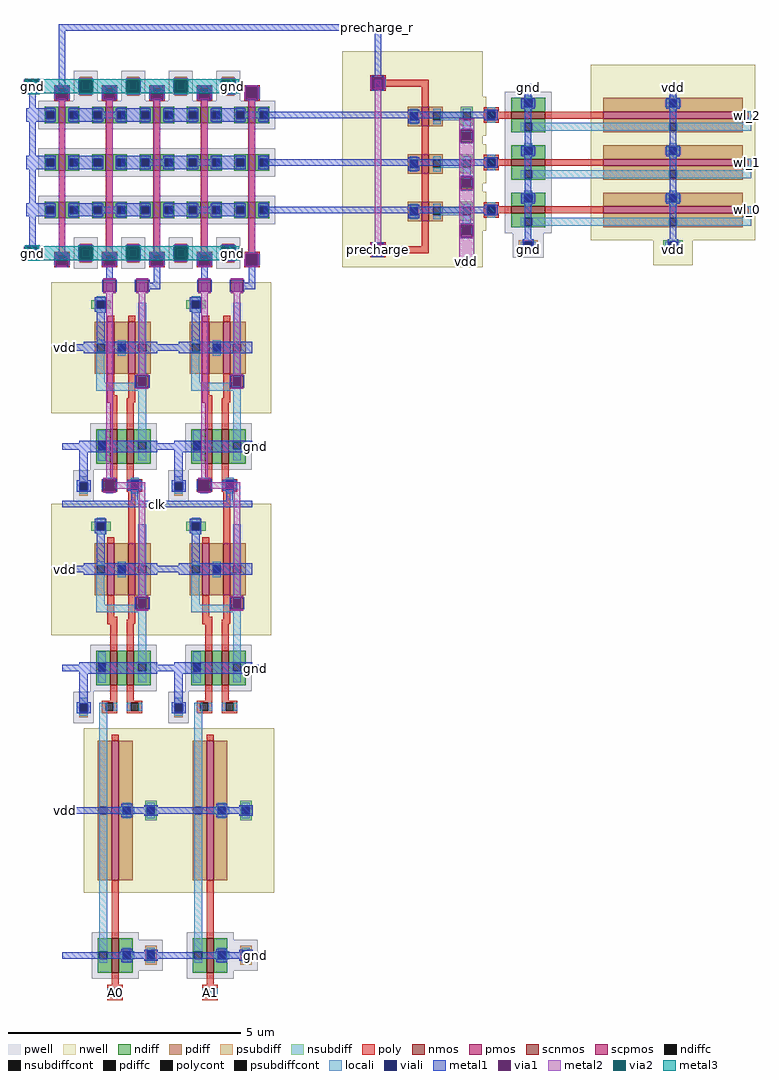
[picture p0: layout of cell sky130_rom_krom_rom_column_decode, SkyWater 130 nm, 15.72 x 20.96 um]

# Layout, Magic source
magic
tech sky130A
magscale 1 2
<< locali >>
rect 1953 3863 1987 3879
rect 3053 3829 3087 3863
rect 1953 3813 1987 3829
rect 1953 3659 1987 3675
rect 3053 3625 3087 3659
rect 1953 3609 1987 3625
rect 1953 3455 1987 3471
rect 3053 3421 3087 3455
rect 1953 3405 1987 3421
rect 321 60 387 94
rect 729 60 795 94
<< viali >>
rect 1953 3829 1987 3863
rect 1953 3625 1987 3659
rect 1953 3421 1987 3455
<< metal1 >>
rect 1469 4209 1497 4237
rect 2115 3952 2143 3980
rect 2737 3952 2765 3980
rect 1941 3863 1999 3869
rect 1941 3860 1953 3863
rect 1851 3832 1953 3860
rect 1941 3829 1953 3832
rect 1987 3829 1999 3863
rect 1941 3823 1999 3829
rect 1941 3659 1999 3665
rect 1941 3656 1953 3659
rect 1851 3628 1953 3656
rect 1941 3625 1953 3628
rect 1987 3625 1999 3659
rect 1941 3619 1999 3625
rect 1941 3455 1999 3461
rect 1941 3452 1953 3455
rect 1851 3424 1953 3452
rect 1941 3421 1953 3424
rect 1987 3421 1999 3455
rect 1941 3415 1999 3421
rect 2115 3256 2143 3284
rect 2737 3256 2765 3284
rect 298 3199 304 3251
rect 356 3199 362 3251
rect 502 3199 508 3251
rect 560 3199 566 3251
rect 706 3199 712 3251
rect 764 3199 770 3251
rect 910 3199 916 3251
rect 968 3199 974 3251
rect 316 3138 344 3199
rect 298 3086 304 3138
rect 356 3086 362 3138
rect 438 3086 444 3138
rect 496 3126 502 3138
rect 520 3126 548 3199
rect 724 3138 752 3199
rect 496 3098 548 3126
rect 496 3086 502 3098
rect 706 3086 712 3138
rect 764 3086 770 3138
rect 846 3086 852 3138
rect 904 3126 910 3138
rect 928 3126 956 3199
rect 904 3098 956 3126
rect 904 3086 910 3098
rect 127 2833 155 2861
rect 943 2408 971 2436
rect 127 2160 943 2188
rect 127 1881 155 1909
rect 943 1456 971 1484
rect 127 844 155 872
rect 943 222 971 250
<< via1 >>
rect 304 3199 356 3251
rect 508 3199 560 3251
rect 712 3199 764 3251
rect 916 3199 968 3251
rect 304 3086 356 3138
rect 444 3086 496 3138
rect 712 3086 764 3138
rect 852 3086 904 3138
<< metal2 >>
rect 304 3251 356 3257
rect 304 3193 356 3199
rect 508 3251 560 3257
rect 508 3193 560 3199
rect 712 3251 764 3257
rect 712 3193 764 3199
rect 916 3251 968 3257
rect 1469 3253 1497 3281
rect 1833 3204 1897 3232
rect 916 3193 968 3199
rect 304 3138 356 3144
rect 304 3080 356 3086
rect 444 3138 496 3144
rect 444 3080 496 3086
rect 712 3138 764 3144
rect 712 3080 764 3086
rect 852 3138 904 3144
rect 852 3080 904 3086
<< metal3 >>
rect -31 3939 29 3999
rect 827 3939 887 3999
rect -31 3223 29 3283
rect 827 3223 887 3283
use sky130_rom_krom_rom_address_control_array_0  sky130_rom_krom_rom_address_control_array_0_0
transform 1 0 127 0 1 0
box -48 44 911 3128
use sky130_rom_krom_rom_column_decode_array  sky130_rom_krom_rom_column_decode_array_0
transform 0 -1 1865 1 0 3192
box -6 -84 1045 1904
use sky130_rom_krom_rom_column_decode_wordline_buffer  sky130_rom_krom_rom_column_decode_wordline_buffer_0
transform 1 0 1893 0 1 3250
box 44 -50 1212 811
<< labels >>
rlabel metal1 s 127 2160 943 2188 4 clk
port 3 nsew
rlabel locali s 3070 3438 3070 3438 4 wl_0
port 4 nsew
rlabel locali s 3070 3642 3070 3642 4 wl_1
port 5 nsew
rlabel locali s 3070 3846 3070 3846 4 wl_2
port 6 nsew
rlabel metal2 s 1469 3253 1497 3281 4 precharge
port 8 nsew
rlabel metal1 s 1469 4209 1497 4237 4 precharge_r
port 10 nsew
rlabel locali s 354 77 354 77 4 A0
port 11 nsew
rlabel locali s 762 77 762 77 4 A1
port 12 nsew
rlabel metal1 s 2737 3952 2765 3980 4 vdd
port 14 nsew
rlabel metal1 s 127 2833 155 2861 4 vdd
port 14 nsew
rlabel metal1 s 2737 3256 2765 3284 4 vdd
port 14 nsew
rlabel metal1 s 127 1881 155 1909 4 vdd
port 14 nsew
rlabel metal2 s 1833 3204 1897 3232 4 vdd
port 14 nsew
rlabel metal1 s 127 844 155 872 4 vdd
port 14 nsew
rlabel metal3 s 827 3223 887 3283 4 gnd
port 16 nsew
rlabel metal3 s 827 3939 887 3999 4 gnd
port 16 nsew
rlabel metal3 s -31 3223 29 3283 4 gnd
port 16 nsew
rlabel metal1 s 943 1456 971 1484 4 gnd
port 16 nsew
rlabel metal1 s 943 222 971 250 4 gnd
port 16 nsew
rlabel metal1 s 2115 3256 2143 3284 4 gnd
port 16 nsew
rlabel metal1 s 943 2408 971 2436 4 gnd
port 16 nsew
rlabel metal1 s 2115 3952 2143 3980 4 gnd
port 16 nsew
rlabel metal3 s -31 3939 29 3999 4 gnd
port 16 nsew
<< properties >>
string FIXED_BBOX -31 0 3087 4237
<< end >>

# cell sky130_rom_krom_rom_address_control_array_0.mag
magic
tech sky130A
magscale 1 2
<< locali >>
rect 194 60 260 94
rect 602 60 668 94
<< metal1 >>
rect 0 2833 817 2861
rect 0 2408 844 2436
rect 0 2160 816 2188
rect 0 1881 817 1909
rect 0 1456 844 1484
rect 0 844 816 872
rect 0 222 844 250
<< metal2 >>
rect 189 3098 217 3126
rect 329 3098 357 3126
rect 597 3098 625 3126
rect 737 3098 765 3126
use sky130_rom_krom_rom_address_control_buf  sky130_rom_krom_rom_address_control_buf_0
transform -1 0 816 0 1 0
box -95 44 456 3128
use sky130_rom_krom_rom_address_control_buf  sky130_rom_krom_rom_address_control_buf_1
transform -1 0 408 0 1 0
box -95 44 456 3128
<< labels >>
rlabel metal1 s 0 2160 816 2188 4 clk
port 3 nsew
rlabel metal1 s 0 2833 28 2861 4 vdd
port 5 nsew
rlabel metal1 s 0 1881 28 1909 4 vdd
port 5 nsew
rlabel metal1 s 0 844 28 872 4 vdd
port 5 nsew
rlabel metal1 s 816 2408 844 2436 4 gnd
port 7 nsew
rlabel metal1 s 816 1456 844 1484 4 gnd
port 7 nsew
rlabel metal1 s 816 222 844 250 4 gnd
port 7 nsew
rlabel metal2 s 189 3098 217 3126 4 A0_out
port 9 nsew
rlabel metal2 s 329 3098 357 3126 4 Abar0_out
port 11 nsew
rlabel locali s 227 77 227 77 4 A0_in
port 12 nsew
rlabel metal2 s 597 3098 625 3126 4 A1_out
port 14 nsew
rlabel metal2 s 737 3098 765 3126 4 Abar1_out
port 16 nsew
rlabel locali s 635 77 635 77 4 A1_in
port 17 nsew
<< properties >>
string FIXED_BBOX 0 0 816 3098
<< end >>

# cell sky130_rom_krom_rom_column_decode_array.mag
magic
tech sky130A
magscale 1 2
<< poly >>
rect 0 1756 66 1772
rect 0 1722 16 1756
rect 50 1754 66 1756
rect 716 1756 782 1772
rect 716 1754 732 1756
rect 50 1724 732 1754
rect 50 1722 66 1724
rect 0 1706 66 1722
rect 716 1722 732 1724
rect 766 1722 782 1756
rect 716 1706 782 1722
rect 0 1552 66 1568
rect 0 1518 16 1552
rect 50 1550 66 1552
rect 716 1552 782 1568
rect 716 1550 732 1552
rect 50 1520 732 1550
rect 50 1518 66 1520
rect 0 1502 66 1518
rect 716 1518 732 1520
rect 766 1518 782 1552
rect 716 1502 782 1518
rect 0 1348 66 1364
rect 0 1314 16 1348
rect 50 1346 66 1348
rect 716 1348 782 1364
rect 716 1346 732 1348
rect 50 1316 732 1346
rect 50 1314 66 1316
rect 0 1298 66 1314
rect 716 1314 732 1316
rect 766 1314 782 1348
rect 716 1298 782 1314
rect 0 1144 66 1160
rect 0 1110 16 1144
rect 50 1142 66 1144
rect 716 1144 782 1160
rect 716 1142 732 1144
rect 50 1112 732 1142
rect 50 1110 66 1112
rect 0 1094 66 1110
rect 716 1110 732 1112
rect 766 1110 782 1144
rect 716 1094 782 1110
rect 0 940 66 956
rect 0 906 16 940
rect 50 938 66 940
rect 716 940 782 956
rect 716 938 732 940
rect 50 908 732 938
rect 50 906 66 908
rect 0 890 66 906
rect 716 906 732 908
rect 766 906 782 940
rect 716 890 782 906
<< polycont >>
rect 16 1722 50 1756
rect 732 1722 766 1756
rect 16 1518 50 1552
rect 732 1518 766 1552
rect 16 1314 50 1348
rect 732 1314 766 1348
rect 16 1110 50 1144
rect 732 1110 766 1144
rect 16 906 50 940
rect 732 906 766 940
<< locali >>
rect 16 1756 50 1772
rect 16 1706 50 1722
rect 732 1756 766 1772
rect 732 1706 766 1722
rect 28 1620 44 1654
rect 78 1620 94 1654
rect 744 1620 760 1654
rect 794 1620 810 1654
rect 16 1552 50 1568
rect 16 1502 50 1518
rect 732 1552 766 1568
rect 732 1502 766 1518
rect 28 1416 44 1450
rect 78 1416 94 1450
rect 744 1416 760 1450
rect 794 1416 810 1450
rect 16 1348 50 1364
rect 16 1298 50 1314
rect 732 1348 766 1364
rect 732 1298 766 1314
rect 28 1212 44 1246
rect 78 1212 94 1246
rect 744 1212 760 1246
rect 794 1212 810 1246
rect 16 1144 50 1160
rect 16 1094 50 1110
rect 732 1144 766 1160
rect 732 1094 766 1110
rect 28 1008 44 1042
rect 78 1008 94 1042
rect 744 1008 760 1042
rect 794 1008 810 1042
rect 16 940 50 956
rect 16 890 50 906
rect 732 940 766 956
rect 732 890 766 906
<< viali >>
rect 16 1722 50 1756
rect 732 1722 766 1756
rect 44 1620 78 1654
rect 760 1620 794 1654
rect 16 1518 50 1552
rect 732 1518 766 1552
rect 44 1416 78 1450
rect 760 1416 794 1450
rect 16 1314 50 1348
rect 732 1314 766 1348
rect 44 1212 78 1246
rect 760 1212 794 1246
rect 16 1110 50 1144
rect 732 1110 766 1144
rect 44 1008 78 1042
rect 760 1008 794 1042
rect 16 906 50 940
rect 732 906 766 940
<< metal1 >>
rect 29 1840 35 1892
rect 87 1880 93 1892
rect 745 1880 751 1892
rect 87 1852 751 1880
rect 87 1840 93 1852
rect 745 1840 751 1852
rect 803 1840 809 1892
rect 8 1765 59 1772
rect 724 1765 775 1772
rect 1 1713 7 1765
rect 59 1713 65 1765
rect 717 1713 723 1765
rect 775 1753 781 1765
rect 775 1725 1045 1753
rect 775 1713 781 1725
rect 8 1706 59 1713
rect 724 1706 775 1713
rect 35 1663 87 1669
rect 35 1605 87 1611
rect 751 1663 803 1669
rect 751 1605 803 1611
rect 8 1561 59 1568
rect 724 1561 775 1568
rect 1 1509 7 1561
rect 59 1509 65 1561
rect 717 1509 723 1561
rect 775 1509 781 1561
rect 8 1502 59 1509
rect 724 1502 775 1509
rect 35 1459 87 1465
rect 35 1401 87 1407
rect 751 1459 803 1465
rect 751 1401 803 1407
rect 8 1357 59 1364
rect 724 1357 775 1364
rect 1 1305 7 1357
rect 59 1305 65 1357
rect 717 1305 723 1357
rect 775 1305 781 1357
rect 8 1298 59 1305
rect 724 1298 775 1305
rect 35 1255 87 1261
rect 35 1197 87 1203
rect 751 1255 803 1261
rect 751 1197 803 1203
rect 8 1153 59 1160
rect 724 1153 775 1160
rect 1 1101 7 1153
rect 59 1101 65 1153
rect 717 1101 723 1153
rect 775 1101 781 1153
rect 8 1094 59 1101
rect 724 1094 775 1101
rect 35 1051 87 1057
rect 35 993 87 999
rect 751 1051 803 1057
rect 751 993 803 999
rect 8 949 59 956
rect 724 949 775 956
rect 1 897 7 949
rect 59 897 65 949
rect 717 897 723 949
rect 775 897 781 949
rect 8 890 59 897
rect 724 890 775 897
rect 232 -14 260 873
rect 436 -14 464 873
rect 640 -14 668 873
rect 1017 396 1045 1725
rect 791 368 1045 396
<< via1 >>
rect 35 1840 87 1892
rect 751 1840 803 1892
rect 7 1756 59 1765
rect 7 1722 16 1756
rect 16 1722 50 1756
rect 50 1722 59 1756
rect 7 1713 59 1722
rect 723 1756 775 1765
rect 723 1722 732 1756
rect 732 1722 766 1756
rect 766 1722 775 1756
rect 723 1713 775 1722
rect 35 1654 87 1663
rect 35 1620 44 1654
rect 44 1620 78 1654
rect 78 1620 87 1654
rect 35 1611 87 1620
rect 751 1654 803 1663
rect 751 1620 760 1654
rect 760 1620 794 1654
rect 794 1620 803 1654
rect 751 1611 803 1620
rect 7 1552 59 1561
rect 7 1518 16 1552
rect 16 1518 50 1552
rect 50 1518 59 1552
rect 7 1509 59 1518
rect 723 1552 775 1561
rect 723 1518 732 1552
rect 732 1518 766 1552
rect 766 1518 775 1552
rect 723 1509 775 1518
rect 35 1450 87 1459
rect 35 1416 44 1450
rect 44 1416 78 1450
rect 78 1416 87 1450
rect 35 1407 87 1416
rect 751 1450 803 1459
rect 751 1416 760 1450
rect 760 1416 794 1450
rect 794 1416 803 1450
rect 751 1407 803 1416
rect 7 1348 59 1357
rect 7 1314 16 1348
rect 16 1314 50 1348
rect 50 1314 59 1348
rect 7 1305 59 1314
rect 723 1348 775 1357
rect 723 1314 732 1348
rect 732 1314 766 1348
rect 766 1314 775 1348
rect 723 1305 775 1314
rect 35 1246 87 1255
rect 35 1212 44 1246
rect 44 1212 78 1246
rect 78 1212 87 1246
rect 35 1203 87 1212
rect 751 1246 803 1255
rect 751 1212 760 1246
rect 760 1212 794 1246
rect 794 1212 803 1246
rect 751 1203 803 1212
rect 7 1144 59 1153
rect 7 1110 16 1144
rect 16 1110 50 1144
rect 50 1110 59 1144
rect 7 1101 59 1110
rect 723 1144 775 1153
rect 723 1110 732 1144
rect 732 1110 766 1144
rect 766 1110 775 1144
rect 723 1101 775 1110
rect 35 1042 87 1051
rect 35 1008 44 1042
rect 44 1008 78 1042
rect 78 1008 87 1042
rect 35 999 87 1008
rect 751 1042 803 1051
rect 751 1008 760 1042
rect 760 1008 794 1042
rect 794 1008 803 1042
rect 751 999 803 1008
rect 7 940 59 949
rect 7 906 16 940
rect 16 906 50 940
rect 50 906 59 940
rect 7 897 59 906
rect 723 940 775 949
rect 723 906 732 940
rect 732 906 766 940
rect 766 906 775 940
rect 723 897 775 906
<< metal2 >>
rect 33 1895 89 1904
rect 33 1830 89 1839
rect 749 1895 805 1904
rect 749 1830 805 1839
rect 7 1765 59 1771
rect 1 1718 7 1761
rect 723 1765 775 1771
rect 59 1753 65 1761
rect 717 1753 723 1761
rect 59 1725 723 1753
rect 59 1718 65 1725
rect 717 1718 723 1725
rect 7 1707 59 1713
rect 775 1718 781 1761
rect 723 1707 775 1713
rect 24 1609 33 1665
rect 89 1609 98 1665
rect 740 1609 749 1665
rect 805 1609 814 1665
rect 7 1561 59 1567
rect 1 1514 7 1557
rect 723 1561 775 1567
rect 59 1549 65 1557
rect 717 1549 723 1557
rect 59 1521 723 1549
rect 59 1514 65 1521
rect 717 1514 723 1521
rect 7 1503 59 1509
rect 775 1514 781 1557
rect 723 1503 775 1509
rect 24 1405 33 1461
rect 89 1405 98 1461
rect 740 1405 749 1461
rect 805 1405 814 1461
rect 7 1357 59 1363
rect 1 1310 7 1353
rect 723 1357 775 1363
rect 59 1345 65 1353
rect 717 1345 723 1353
rect 59 1317 723 1345
rect 59 1310 65 1317
rect 717 1310 723 1317
rect 7 1299 59 1305
rect 775 1310 781 1353
rect 723 1299 775 1305
rect 24 1201 33 1257
rect 89 1201 98 1257
rect 740 1201 749 1257
rect 805 1201 814 1257
rect 7 1153 59 1159
rect 1 1106 7 1149
rect 723 1153 775 1159
rect 59 1141 65 1149
rect 717 1141 723 1149
rect 59 1113 723 1141
rect 59 1106 65 1113
rect 717 1106 723 1113
rect 7 1095 59 1101
rect 775 1106 781 1149
rect 723 1095 775 1101
rect 24 997 33 1053
rect 89 997 98 1053
rect 740 997 749 1053
rect 805 997 814 1053
rect 7 949 59 955
rect 1 902 7 945
rect 723 949 775 955
rect 59 937 65 945
rect 717 937 723 945
rect 59 909 723 937
rect 59 902 65 909
rect 717 902 723 909
rect 7 891 59 897
rect 775 902 781 945
rect 723 891 775 897
rect 61 368 89 396
rect 12 -32 40 32
<< via2 >>
rect 33 1892 89 1895
rect 33 1840 35 1892
rect 35 1840 87 1892
rect 87 1840 89 1892
rect 33 1839 89 1840
rect 749 1892 805 1895
rect 749 1840 751 1892
rect 751 1840 803 1892
rect 803 1840 805 1892
rect 749 1839 805 1840
rect 33 1663 89 1665
rect 33 1611 35 1663
rect 35 1611 87 1663
rect 87 1611 89 1663
rect 33 1609 89 1611
rect 749 1663 805 1665
rect 749 1611 751 1663
rect 751 1611 803 1663
rect 803 1611 805 1663
rect 749 1609 805 1611
rect 33 1459 89 1461
rect 33 1407 35 1459
rect 35 1407 87 1459
rect 87 1407 89 1459
rect 33 1405 89 1407
rect 749 1459 805 1461
rect 749 1407 751 1459
rect 751 1407 803 1459
rect 803 1407 805 1459
rect 749 1405 805 1407
rect 33 1255 89 1257
rect 33 1203 35 1255
rect 35 1203 87 1255
rect 87 1203 89 1255
rect 33 1201 89 1203
rect 749 1255 805 1257
rect 749 1203 751 1255
rect 751 1203 803 1255
rect 803 1203 805 1255
rect 749 1201 805 1203
rect 33 1051 89 1053
rect 33 999 35 1051
rect 35 999 87 1051
rect 87 999 89 1051
rect 33 997 89 999
rect 749 1051 805 1053
rect 749 999 751 1051
rect 751 999 803 1051
rect 803 999 805 1051
rect 749 997 805 999
<< metal3 >>
rect 28 1895 94 1900
rect 28 1839 33 1895
rect 89 1839 94 1895
rect 28 1834 94 1839
rect 744 1895 810 1900
rect 744 1839 749 1895
rect 805 1839 810 1895
rect 744 1834 810 1839
rect 31 1670 91 1834
rect 747 1670 807 1834
rect 28 1665 94 1670
rect 28 1609 33 1665
rect 89 1609 94 1665
rect 28 1604 94 1609
rect 744 1665 810 1670
rect 744 1609 749 1665
rect 805 1609 810 1665
rect 744 1604 810 1609
rect 31 1466 91 1604
rect 747 1466 807 1604
rect 28 1461 94 1466
rect 28 1405 33 1461
rect 89 1405 94 1461
rect 28 1400 94 1405
rect 744 1461 810 1466
rect 744 1405 749 1461
rect 805 1405 810 1461
rect 744 1400 810 1405
rect 31 1262 91 1400
rect 747 1262 807 1400
rect 28 1257 94 1262
rect 28 1201 33 1257
rect 89 1201 94 1257
rect 28 1196 94 1201
rect 744 1257 810 1262
rect 744 1201 749 1257
rect 805 1201 810 1257
rect 744 1196 810 1201
rect 31 1058 91 1196
rect 747 1058 807 1196
rect 28 1053 94 1058
rect 28 997 33 1053
rect 89 997 94 1053
rect 28 992 94 997
rect 744 1053 810 1058
rect 744 997 749 1053
rect 805 997 810 1053
rect 744 992 810 997
rect 31 978 91 992
rect 747 978 807 992
use sky130_rom_krom_rom_base_one_cell  sky130_rom_krom_rom_base_one_cell_0
transform 1 0 512 0 1 1689
box 0 -51 204 204
use sky130_rom_krom_rom_base_one_cell  sky130_rom_krom_rom_base_one_cell_1
transform 1 0 308 0 1 1689
box 0 -51 204 204
use sky130_rom_krom_rom_base_one_cell  sky130_rom_krom_rom_base_one_cell_2
transform 1 0 104 0 1 1689
box 0 -51 204 204
use sky130_rom_krom_rom_base_one_cell  sky130_rom_krom_rom_base_one_cell_3
transform 1 0 308 0 1 1485
box 0 -51 204 204
use sky130_rom_krom_rom_base_one_cell  sky130_rom_krom_rom_base_one_cell_4
transform 1 0 512 0 1 1281
box 0 -51 204 204
use sky130_rom_krom_rom_base_one_cell  sky130_rom_krom_rom_base_one_cell_5
transform 1 0 104 0 1 1281
box 0 -51 204 204
use sky130_rom_krom_rom_base_one_cell  sky130_rom_krom_rom_base_one_cell_6
transform 1 0 512 0 1 1077
box 0 -51 204 204
use sky130_rom_krom_rom_base_one_cell  sky130_rom_krom_rom_base_one_cell_7
transform 1 0 308 0 1 873
box 0 -51 204 204
use sky130_rom_krom_rom_base_one_cell  sky130_rom_krom_rom_base_one_cell_8
transform 1 0 104 0 1 873
box 0 -51 204 204
use sky130_rom_krom_rom_base_zero_cell  sky130_rom_krom_rom_base_zero_cell_0
transform 1 0 512 0 1 1485
box 0 -51 204 204
use sky130_rom_krom_rom_base_zero_cell  sky130_rom_krom_rom_base_zero_cell_1
transform 1 0 104 0 1 1485
box 0 -51 204 204
use sky130_rom_krom_rom_base_zero_cell  sky130_rom_krom_rom_base_zero_cell_2
transform 1 0 308 0 1 1281
box 0 -51 204 204
use sky130_rom_krom_rom_base_zero_cell  sky130_rom_krom_rom_base_zero_cell_3
transform 1 0 308 0 1 1077
box 0 -51 204 204
use sky130_rom_krom_rom_base_zero_cell  sky130_rom_krom_rom_base_zero_cell_4
transform 1 0 104 0 1 1077
box 0 -51 204 204
use sky130_rom_krom_rom_base_zero_cell  sky130_rom_krom_rom_base_zero_cell_5
transform 1 0 512 0 1 873
box 0 -51 204 204
use sky130_rom_krom_rom_poly_tap_1  sky130_rom_krom_rom_poly_tap_1_0
transform 1 0 716 0 1 1485
box -6 17 128 203
use sky130_rom_krom_rom_poly_tap_1  sky130_rom_krom_rom_poly_tap_1_1
transform 1 0 0 0 1 1485
box -6 17 128 203
use sky130_rom_krom_rom_poly_tap_1  sky130_rom_krom_rom_poly_tap_1_2
transform 1 0 716 0 1 1281
box -6 17 128 203
use sky130_rom_krom_rom_poly_tap_1  sky130_rom_krom_rom_poly_tap_1_3
transform 1 0 0 0 1 1281
box -6 17 128 203
use sky130_rom_krom_rom_poly_tap_1  sky130_rom_krom_rom_poly_tap_1_4
transform 1 0 716 0 1 1077
box -6 17 128 203
use sky130_rom_krom_rom_poly_tap_1  sky130_rom_krom_rom_poly_tap_1_5
transform 1 0 0 0 1 1077
box -6 17 128 203
use sky130_rom_krom_rom_poly_tap_1  sky130_rom_krom_rom_poly_tap_1_6
transform 1 0 716 0 1 873
box -6 17 128 203
use sky130_rom_krom_rom_poly_tap_1  sky130_rom_krom_rom_poly_tap_1_7
transform 1 0 0 0 1 873
box -6 17 128 203
use sky130_rom_krom_rom_poly_tap_2  sky130_rom_krom_rom_poly_tap_2_0
transform 1 0 716 0 1 1689
box 0 17 66 83
use sky130_rom_krom_rom_poly_tap_2  sky130_rom_krom_rom_poly_tap_2_1
transform 1 0 0 0 1 1689
box 0 17 66 83
use sky130_rom_krom_rom_precharge_array_1  sky130_rom_krom_rom_precharge_array_1_0
transform 1 0 0 0 1 128
box 0 -212 928 408
<< labels >>
rlabel metal2 s 61 368 89 396 4 precharge
port 3 nsew
rlabel metal2 s 19 909 47 937 4 wl_0_0
port 5 nsew
rlabel metal2 s 19 1113 47 1141 4 wl_0_1
port 7 nsew
rlabel metal2 s 19 1317 47 1345 4 wl_0_2
port 9 nsew
rlabel metal2 s 19 1521 47 1549 4 wl_0_3
port 11 nsew
rlabel metal1 s 232 -14 260 14 4 bl_0_0
port 13 nsew
rlabel metal1 s 436 -14 464 14 4 bl_0_1
port 15 nsew
rlabel metal1 s 640 -14 668 14 4 bl_0_2
port 17 nsew
rlabel metal1 s 1017 368 1045 396 4 precharge_r
port 19 nsew
rlabel metal3 s 747 978 807 1038 4 gnd
port 21 nsew
rlabel metal3 s 747 1836 807 1896 4 gnd
port 21 nsew
rlabel metal3 s 31 1836 91 1896 4 gnd
port 21 nsew
rlabel metal3 s 31 978 91 1038 4 gnd
port 21 nsew
rlabel metal2 s 12 -32 40 32 4 vdd
port 23 nsew
<< properties >>
string FIXED_BBOX 0 0 1045 870
<< end >>

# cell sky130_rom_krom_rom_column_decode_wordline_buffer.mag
magic
tech sky130A
magscale 1 2
<< nwell >>
rect 774 -50 942 118
<< pwell >>
rect 169 -17 303 85
<< psubdiff >>
rect 195 51 277 59
rect 195 17 219 51
rect 253 17 277 51
rect 195 9 277 17
<< nsubdiff >>
rect 817 51 899 59
rect 817 17 841 51
rect 875 17 899 51
rect 817 9 899 17
<< psubdiffcont >>
rect 219 17 253 51
<< nsubdiffcont >>
rect 841 17 875 51
<< locali >>
rect 60 563 94 629
rect 1160 546 1194 613
rect 60 359 94 425
rect 1160 342 1194 409
rect 60 155 94 221
rect 1160 138 1194 205
rect 203 17 219 51
rect 253 17 269 51
rect 825 17 841 51
rect 875 17 891 51
<< viali >>
rect 219 17 253 51
rect 841 17 875 51
<< metal1 >>
rect 222 63 250 730
rect 844 63 872 730
rect 213 51 259 63
rect 213 17 219 51
rect 253 17 259 51
rect 213 5 259 17
rect 835 51 881 63
rect 835 17 841 51
rect 875 17 881 51
rect 835 5 881 17
use sky130_rom_krom_pinv_dec_2  sky130_rom_krom_pinv_dec_2_0
transform 1 0 0 0 1 512
box 44 -50 1212 299
use sky130_rom_krom_pinv_dec_2  sky130_rom_krom_pinv_dec_2_1
transform 1 0 0 0 1 308
box 44 -50 1212 299
use sky130_rom_krom_pinv_dec_2  sky130_rom_krom_pinv_dec_2_2
transform 1 0 0 0 1 104
box 44 -50 1212 299
<< labels >>
rlabel locali s 77 188 77 188 4 in_0
port 2 nsew
rlabel locali s 1177 188 1177 188 4 out_0
port 3 nsew
rlabel locali s 77 392 77 392 4 in_1
port 4 nsew
rlabel locali s 1177 392 1177 392 4 out_1
port 5 nsew
rlabel locali s 77 596 77 596 4 in_2
port 6 nsew
rlabel locali s 1177 596 1177 596 4 out_2
port 7 nsew
rlabel metal1 s 222 6 250 34 4 gnd
port 9 nsew
rlabel metal1 s 222 702 250 730 4 gnd
port 9 nsew
rlabel metal1 s 844 702 872 730 4 vdd
port 11 nsew
rlabel metal1 s 844 6 872 34 4 vdd
port 11 nsew
<< properties >>
string FIXED_BBOX 774 -50 942 0
<< end >>

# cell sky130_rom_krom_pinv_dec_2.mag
magic
tech sky130A
magscale 1 2
<< nwell >>
rect 504 -45 1212 299
rect 774 -50 942 -45
<< pwell >>
rect 136 -17 336 185
<< scnmos >>
rect 162 69 310 99
<< scpmos >>
rect 558 69 1158 99
<< ndiff >>
rect 162 151 310 159
rect 162 117 219 151
rect 253 117 310 151
rect 162 99 310 117
rect 162 51 310 69
rect 162 17 219 51
rect 253 17 310 51
rect 162 9 310 17
<< pdiff >>
rect 558 151 1158 159
rect 558 117 841 151
rect 875 117 1158 151
rect 558 99 1158 117
rect 558 51 1158 69
rect 558 17 841 51
rect 875 17 1158 51
rect 558 9 1158 17
<< ndiffc >>
rect 219 117 253 151
rect 219 17 253 51
<< pdiffc >>
rect 841 117 875 151
rect 841 17 875 51
<< poly >>
rect 44 101 110 117
rect 44 67 60 101
rect 94 99 110 101
rect 94 69 162 99
rect 310 69 558 99
rect 1158 69 1184 99
rect 94 67 110 69
rect 44 51 110 67
<< polycont >>
rect 60 67 94 101
<< locali >>
rect 219 151 253 167
rect 841 151 875 167
rect 203 117 219 151
rect 253 117 269 151
rect 825 117 841 151
rect 875 117 891 151
rect 60 101 94 117
rect 219 101 253 117
rect 841 101 875 117
rect 60 51 94 67
rect 203 17 219 51
rect 253 17 841 51
rect 875 17 1194 51
<< viali >>
rect 219 117 253 151
rect 841 117 875 151
<< metal1 >>
rect 222 157 250 204
rect 844 157 872 204
rect 207 151 265 157
rect 207 117 219 151
rect 253 117 265 151
rect 207 111 265 117
rect 829 151 887 157
rect 829 117 841 151
rect 875 117 887 151
rect 829 111 887 117
rect 222 0 250 111
rect 844 0 872 111
<< labels >>
rlabel locali s 77 84 77 84 4 A
port 2 nsew
rlabel locali s 698 34 698 34 4 Z
port 3 nsew
rlabel metal1 s 222 0 250 204 4 gnd
port 5 nsew
rlabel metal1 s 844 0 872 204 4 vdd
port 7 nsew
<< properties >>
string FIXED_BBOX 774 -50 942 -45
<< end >>

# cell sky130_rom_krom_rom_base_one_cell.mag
magic
tech sky130A
magscale 1 2
<< pwell >>
rect 80 -51 204 151
<< scnmos >>
rect 106 35 178 65
<< ndiff >>
rect 106 117 178 125
rect 106 83 125 117
rect 159 83 178 117
rect 106 65 178 83
rect 106 17 178 35
rect 106 -17 125 17
rect 159 -17 178 17
rect 106 -25 178 -17
<< ndiffc >>
rect 125 83 159 117
rect 125 -17 159 17
<< poly >>
rect 0 35 106 65
rect 178 35 204 65
<< locali >>
rect 109 83 125 117
rect 159 83 175 117
rect 109 -17 125 17
rect 159 -17 175 17
<< viali >>
rect 125 83 159 117
rect 125 -17 159 17
<< metal1 >>
rect 114 123 170 204
rect 113 117 171 123
rect 113 83 125 117
rect 159 83 171 117
rect 113 77 171 83
rect 113 17 171 23
rect 113 -17 125 17
rect 159 -17 171 17
rect 113 -23 171 -17
<< labels >>
rlabel metal1 s 113 -23 171 23 4 S
port 3 nsew
rlabel metal1 s 113 77 171 123 4 D
port 5 nsew
rlabel poly s 142 50 142 50 4 G
port 6 nsew
<< properties >>
string FIXED_BBOX 80 -50 204 0
<< end >>

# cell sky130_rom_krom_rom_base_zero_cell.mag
magic
tech sky130A
magscale 1 2
<< pwell >>
rect 80 -51 204 151
<< scnmos >>
rect 106 35 178 65
<< ndiff >>
rect 106 117 178 125
rect 106 83 125 117
rect 159 83 178 117
rect 106 65 178 83
rect 106 17 178 35
rect 106 -17 125 17
rect 159 -17 178 17
rect 106 -25 178 -17
<< ndiffc >>
rect 125 83 159 117
rect 125 -17 159 17
<< poly >>
rect 0 35 106 65
rect 178 35 204 65
<< locali >>
rect 109 83 125 117
rect 159 83 175 117
rect 109 -17 125 17
rect 159 -17 175 17
<< viali >>
rect 125 83 159 117
rect 125 -17 159 17
<< metal1 >>
rect 114 123 170 204
rect 113 117 171 123
rect 113 83 125 117
rect 159 83 171 117
rect 113 77 171 83
rect 128 23 156 77
rect 113 17 171 23
rect 113 -17 125 17
rect 159 -17 171 17
rect 113 -23 171 -17
<< labels >>
rlabel metal1 s 113 -23 171 23 4 S
port 3 nsew
rlabel metal1 s 113 77 171 123 4 D
port 5 nsew
rlabel poly s 142 50 142 50 4 G
port 6 nsew
<< properties >>
string FIXED_BBOX 80 -50 204 0
<< end >>

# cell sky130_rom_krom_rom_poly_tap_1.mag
magic
tech sky130A
magscale 1 2
<< pwell >>
rect -6 101 128 203
<< psubdiff >>
rect 20 169 102 177
rect 20 135 44 169
rect 78 135 102 169
rect 20 127 102 135
<< psubdiffcont >>
rect 44 135 78 169
<< poly >>
rect 0 67 66 83
rect 0 33 16 67
rect 50 33 66 67
rect 0 17 66 33
<< polycont >>
rect 16 33 50 67
<< locali >>
rect 28 135 44 169
rect 78 135 94 169
rect 16 67 50 83
rect 16 17 50 33
<< viali >>
rect 16 33 50 67
<< metal1 >>
rect 1 24 7 76
rect 59 24 65 76
<< via1 >>
rect 7 67 59 76
rect 7 33 16 67
rect 16 33 50 67
rect 50 33 59 67
rect 7 24 59 33
<< metal2 >>
rect 7 76 59 82
rect 7 18 59 24
<< labels >>
rlabel metal2 s 19 36 47 64 4 poly_tap
port 1 nsew
rlabel locali s 61 152 61 152 4 active_tap
port 2 nsew
<< properties >>
string FIXED_BBOX -20 -3 86 0
<< end >>

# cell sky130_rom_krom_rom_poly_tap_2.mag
magic
tech sky130A
magscale 1 2
<< poly >>
rect 0 67 66 83
rect 0 33 16 67
rect 50 33 66 67
rect 0 17 66 33
<< polycont >>
rect 16 33 50 67
<< locali >>
rect 16 67 50 83
rect 16 17 50 33
<< viali >>
rect 16 33 50 67
<< metal1 >>
rect 1 24 7 76
rect 59 24 65 76
<< via1 >>
rect 7 67 59 76
rect 7 33 16 67
rect 16 33 50 67
rect 50 33 59 67
rect 7 24 59 33
<< metal2 >>
rect 7 76 59 82
rect 7 18 59 24
<< labels >>
rlabel metal2 s 19 36 47 64 4 poly_tap
port 1 nsew
<< properties >>
string FIXED_BBOX -20 -3 86 0
<< end >>

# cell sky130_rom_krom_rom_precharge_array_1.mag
magic
tech sky130A
magscale 1 2
<< nwell >>
rect 0 -196 928 408
<< poly >>
rect 60 65 90 240
rect 776 65 806 240
rect 60 50 806 65
rect 61 35 806 50
<< locali >>
rect 139 -111 173 -95
rect 139 -161 173 -145
rect 343 -111 377 -95
rect 343 -161 377 -145
rect 547 -111 581 -95
rect 547 -161 581 -145
<< viali >>
rect 139 -145 173 -111
rect 343 -145 377 -111
rect 547 -145 581 -111
<< metal1 >>
rect 226 86 254 114
rect 430 86 458 114
rect 634 86 662 114
rect 124 -154 130 -102
rect 182 -154 188 -102
rect 328 -154 334 -102
rect 386 -154 392 -102
rect 532 -154 538 -102
rect 590 -154 596 -102
<< via1 >>
rect 130 -111 182 -102
rect 130 -145 139 -111
rect 139 -145 173 -111
rect 173 -145 182 -111
rect 130 -154 182 -145
rect 334 -111 386 -102
rect 334 -145 343 -111
rect 343 -145 377 -111
rect 377 -145 386 -111
rect 334 -154 386 -145
rect 538 -111 590 -102
rect 538 -145 547 -111
rect 547 -145 581 -111
rect 581 -145 590 -111
rect 538 -154 590 -145
<< metal2 >>
rect 61 240 805 268
rect 12 -102 638 -96
rect 12 -154 130 -102
rect 182 -154 334 -102
rect 386 -154 538 -102
rect 590 -154 638 -102
rect 12 -160 638 -154
use sky130_rom_krom_precharge_cell  sky130_rom_krom_precharge_cell_0
transform 1 0 512 0 1 0
box 0 -212 232 184
use sky130_rom_krom_precharge_cell  sky130_rom_krom_precharge_cell_1
transform 1 0 308 0 1 0
box 0 -212 232 184
use sky130_rom_krom_precharge_cell  sky130_rom_krom_precharge_cell_2
transform 1 0 104 0 1 0
box 0 -212 232 184
use sky130_rom_krom_rom_poly_tap_3  sky130_rom_krom_rom_poly_tap_3_0
transform 1 0 758 0 1 204
box 0 17 66 83
use sky130_rom_krom_rom_poly_tap_3  sky130_rom_krom_rom_poly_tap_3_1
transform 1 0 42 0 1 204
box 0 17 66 83
<< labels >>
rlabel nwell s 928 408 928 408 4 upper right
rlabel metal2 s 61 240 89 268 4 gate
port 3 nsew
rlabel metal2 s 777 240 805 268 4 precharge_r
port 5 nsew
rlabel metal1 s 226 86 254 114 4 pre_bl0_out
port 7 nsew
rlabel metal1 s 430 86 458 114 4 pre_bl1_out
port 9 nsew
rlabel metal1 s 634 86 662 114 4 pre_bl2_out
port 11 nsew
rlabel metal2 s 12 -160 40 -96 4 vdd
port 13 nsew
<< properties >>
string FIXED_BBOX 535 -161 593 -160
<< end >>

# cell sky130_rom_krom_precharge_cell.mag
magic
tech sky130A
magscale 1 2
<< nwell >>
rect 52 179 220 184
rect 40 136 232 179
rect 0 -79 232 136
rect 0 -189 220 -79
rect 52 -212 220 -189
<< scpmos >>
rect 94 35 178 65
<< pdiff >>
rect 94 117 178 125
rect 94 83 119 117
rect 153 83 178 117
rect 94 65 178 83
rect 94 17 178 35
rect 94 -17 119 17
rect 153 -17 178 17
rect 94 -25 178 -17
<< pdiffc >>
rect 119 83 153 117
rect 119 -17 153 17
<< nsubdiff >>
rect 95 -111 177 -103
rect 95 -145 119 -111
rect 153 -145 177 -111
rect 95 -153 177 -145
<< nsubdiffcont >>
rect 119 -145 153 -111
<< poly >>
rect 0 35 94 65
rect 178 35 204 65
<< locali >>
rect 103 83 119 117
rect 153 83 169 117
rect 103 -17 119 17
rect 153 -17 169 17
rect 119 -111 153 -17
rect 35 -145 119 -111
rect 153 -145 169 -111
<< viali >>
rect 119 83 153 117
<< metal1 >>
rect 107 117 165 123
rect 107 83 119 117
rect 153 83 165 117
rect 107 77 165 83
<< labels >>
rlabel metal1 s 107 77 165 123 4 D
port 1 nsew
rlabel poly s 136 50 136 50 4 G
port 2 nsew
rlabel locali s 52 -128 52 -128 4 vdd
port 3 nsew
<< properties >>
string FIXED_BBOX 52 -212 220 -79
<< end >>

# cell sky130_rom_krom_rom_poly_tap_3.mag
magic
tech sky130A
magscale 1 2
<< poly >>
rect 0 67 66 83
rect 0 33 16 67
rect 50 33 66 67
rect 0 17 66 33
<< polycont >>
rect 16 33 50 67
<< locali >>
rect 16 67 50 83
rect 16 17 50 33
<< viali >>
rect 16 33 50 67
<< metal1 >>
rect 1 24 7 76
rect 59 24 65 76
<< via1 >>
rect 7 67 59 76
rect 7 33 16 67
rect 16 33 50 67
rect 50 33 59 67
rect 7 24 59 33
<< metal2 >>
rect 7 76 59 82
rect 7 18 59 24
<< labels >>
rlabel metal2 s 19 36 47 64 4 poly_tap
port 1 nsew
<< properties >>
string FIXED_BBOX -20 -3 86 0
<< end >>

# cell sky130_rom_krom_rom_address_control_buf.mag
magic
tech sky130A
magscale 1 2
<< nwell >>
rect -57 774 111 942
<< pwell >>
rect -24 169 78 303
<< psubdiff >>
rect 2 253 52 277
rect 2 219 10 253
rect 44 219 52 253
rect 2 195 52 219
<< nsubdiff >>
rect 2 875 52 899
rect 2 841 10 875
rect 44 841 52 875
rect 2 817 52 841
<< psubdiffcont >>
rect 10 219 44 253
<< nsubdiffcont >>
rect 10 841 44 875
<< poly >>
rect 94 1749 124 2255
<< locali >>
rect 48 2718 82 2734
rect 48 2668 82 2684
rect 80 2272 114 2288
rect 80 2222 114 2238
rect 188 2272 222 2288
rect 188 2222 222 2238
rect 48 1766 82 1782
rect 48 1716 82 1732
rect 10 875 44 891
rect 10 825 44 841
rect 214 698 248 1320
rect 10 253 44 269
rect 10 203 44 219
rect 148 60 214 94
<< viali >>
rect 48 2684 82 2718
rect 80 2238 114 2272
rect 188 2238 222 2272
rect 48 1732 82 1766
rect 10 841 44 875
rect 10 219 44 253
<< metal1 >>
rect -1 2822 226 2872
rect 33 2675 39 2727
rect 91 2675 97 2727
rect 0 2398 317 2446
rect 68 2272 126 2278
rect 68 2238 80 2272
rect 114 2238 126 2272
rect 68 2232 126 2238
rect 83 2160 111 2232
rect 173 2229 179 2281
rect 231 2229 237 2281
rect -1 1870 226 1920
rect 33 1723 39 1775
rect 91 1723 97 1775
rect 0 1446 317 1494
rect -2 875 56 881
rect -2 841 10 875
rect 44 872 56 875
rect 44 844 316 872
rect 44 841 56 844
rect -2 835 56 841
rect -2 253 56 259
rect -2 219 10 253
rect 44 250 56 253
rect 44 222 316 250
rect 44 219 56 222
rect -2 213 56 219
<< via1 >>
rect 39 2718 91 2727
rect 39 2684 48 2718
rect 48 2684 82 2718
rect 82 2684 91 2718
rect 39 2675 91 2684
rect 179 2272 231 2281
rect 179 2238 188 2272
rect 188 2238 222 2272
rect 222 2238 231 2272
rect 179 2229 231 2238
rect 39 1766 91 1775
rect 39 1732 48 1766
rect 48 1732 82 1766
rect 82 1732 91 1766
rect 39 1723 91 1732
<< metal2 >>
rect 51 2733 79 3126
rect 39 2727 91 2733
rect 39 2669 91 2675
rect 191 2287 219 3126
rect 179 2281 231 2287
rect 51 2241 179 2269
rect 51 1781 79 2241
rect 179 2223 231 2229
rect 39 1775 91 1781
rect 39 1717 91 1723
use sky130_fd_bd_sram__openram_sp_nand2_dec  sky130_fd_bd_sram__openram_sp_nand2_dec_0
transform 0 -1 316 1 0 2174
box 10 -140 954 398
use sky130_fd_bd_sram__openram_sp_nand2_dec  sky130_fd_bd_sram__openram_sp_nand2_dec_1
transform 0 -1 316 1 0 1222
box 10 -140 954 398
use sky130_rom_krom_inv_array_mod  sky130_rom_krom_inv_array_mod_0
transform 0 -1 316 1 0 0
box 44 0 1212 411
<< labels >>
rlabel metal1 s 83 2160 111 2188 4 clk
port 3 nsew
rlabel metal2 s 191 3098 219 3126 4 A_out
port 5 nsew
rlabel metal2 s 51 3098 79 3126 4 Abar_out
port 7 nsew
rlabel locali s 181 77 181 77 4 A_in
port 8 nsew
rlabel metal1 s -1 1870 226 1920 4 vdd
port 10 nsew
rlabel metal1 s -1 2822 226 2872 4 vdd
port 10 nsew
rlabel metal1 s 0 844 316 872 4 vdd
port 10 nsew
rlabel metal1 s 0 2398 317 2446 4 gnd
port 12 nsew
rlabel metal1 s 0 1446 317 1494 4 gnd
port 12 nsew
rlabel metal1 s 0 222 316 250 4 gnd
port 12 nsew
<< properties >>
string FIXED_BBOX 0 0 408 170
<< end >>

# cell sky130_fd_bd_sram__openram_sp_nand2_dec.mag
magic
tech sky130A
magscale 1 2
<< nwell >>
rect 390 -140 954 398
<< pwell >>
rect 148 44 348 315
rect 10 28 348 44
rect 10 -44 146 28
<< nmos >>
rect 174 186 322 216
rect 174 114 322 144
<< pmos >>
rect 560 192 784 222
rect 560 102 784 132
<< ndiff >>
rect 174 268 322 289
rect 174 234 235 268
rect 269 234 322 268
rect 174 216 322 234
rect 174 144 322 186
rect 174 96 322 114
rect 174 62 237 96
rect 271 62 322 96
rect 174 54 322 62
<< pdiff >>
rect 560 268 784 289
rect 560 234 655 268
rect 689 234 784 268
rect 560 222 784 234
rect 560 180 784 192
rect 560 146 655 180
rect 689 146 784 180
rect 560 132 784 146
rect 560 90 784 102
rect 560 56 655 90
rect 689 56 784 90
rect 560 48 784 56
<< ndiffc >>
rect 235 234 269 268
rect 237 62 271 96
<< pdiffc >>
rect 655 234 689 268
rect 655 146 689 180
rect 655 56 689 90
<< psubdiff >>
rect 36 17 120 18
rect 36 -17 61 17
rect 95 -17 120 17
rect 36 -18 120 -17
<< nsubdiff >>
rect 839 91 877 116
rect 839 57 841 91
rect 875 57 877 91
rect 839 32 877 57
<< psubdiffcont >>
rect 61 -17 95 17
<< nsubdiffcont >>
rect 841 57 875 91
<< poly >>
rect 54 236 108 252
rect 54 202 64 236
rect 98 216 108 236
rect 438 216 560 222
rect 98 202 174 216
rect 54 186 174 202
rect 322 192 560 216
rect 784 192 810 222
rect 322 186 456 192
rect 54 128 174 144
rect 54 94 64 128
rect 98 114 174 128
rect 322 132 468 144
rect 322 114 560 132
rect 98 94 108 114
rect 54 78 108 94
rect 436 102 560 114
rect 784 102 810 132
<< polycont >>
rect 64 202 98 236
rect 64 94 98 128
<< locali >>
rect 64 236 98 252
rect 188 234 235 268
rect 269 234 655 268
rect 689 234 866 268
rect 64 186 98 202
rect 64 128 98 144
rect 64 78 98 94
rect 186 62 232 96
rect 271 62 318 96
rect 487 90 521 234
rect 638 146 655 180
rect 689 146 705 180
rect 823 91 893 92
rect 487 89 576 90
rect 638 89 655 90
rect 487 56 655 89
rect 689 56 706 90
rect 823 57 841 91
rect 875 57 893 91
rect 823 56 893 57
rect 487 55 663 56
rect 487 54 550 55
rect 44 17 120 18
rect 44 -17 61 17
rect 95 -17 120 17
rect 44 -18 120 -17
<< viali >>
rect 232 62 237 96
rect 237 62 266 96
rect 655 146 689 180
rect 841 57 875 91
rect 61 -17 95 17
<< metal1 >>
rect 224 96 272 316
rect 224 62 232 96
rect 266 62 272 96
rect 54 18 102 30
rect 224 18 272 62
rect 54 17 272 18
rect 54 -17 61 17
rect 95 -17 272 17
rect 648 180 698 317
rect 648 146 655 180
rect 689 146 698 180
rect 648 90 698 146
rect 823 91 890 98
rect 823 90 841 91
rect 648 57 841 90
rect 875 57 890 91
rect 648 56 890 57
rect 648 0 698 56
rect 827 48 890 56
rect 54 -18 272 -17
rect 54 -30 102 -18
<< labels >>
rlabel metal1 s 224 -1 272 316 4 GND
port 3 nsew
rlabel metal1 s 648 90 698 317 4 VDD
port 5 nsew
rlabel metal1 s 673 206 673 206 4 vdd
port 6 nsew
rlabel metal1 s 248 156 248 156 4 gnd
port 7 nsew
rlabel locali s 81 219 81 219 4 A
port 8 nsew
rlabel locali s 81 111 81 111 4 B
port 9 nsew
rlabel locali s 527 251 527 251 4 Z
port 10 nsew
rlabel locali s 81 219 81 219 4 A
port 8 nsew
rlabel locali s 81 111 81 111 4 B
port 9 nsew
rlabel locali s 527 251 527 251 4 Z
port 10 nsew
rlabel metal1 s 673 203 673 203 4 vdd
port 6 nsew
rlabel metal1 s 248 157 248 157 4 gnd
port 7 nsew
<< properties >>
string FIXED_BBOX 0 0 952 316
<< end >>

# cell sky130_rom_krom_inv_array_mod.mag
magic
tech sky130A
magscale 1 2
<< nwell >>
rect 504 0 1212 411
<< pwell >>
rect 136 34 336 236
<< scnmos >>
rect 162 120 310 150
<< scpmos >>
rect 558 120 1158 150
<< ndiff >>
rect 162 202 310 210
rect 162 168 219 202
rect 253 168 310 202
rect 162 150 310 168
rect 162 102 310 120
rect 162 68 219 102
rect 253 68 310 102
rect 162 60 310 68
<< pdiff >>
rect 558 202 1158 210
rect 558 168 841 202
rect 875 168 1158 202
rect 558 150 1158 168
rect 558 102 1158 120
rect 558 68 841 102
rect 875 68 1158 102
rect 558 60 1158 68
<< ndiffc >>
rect 219 168 253 202
rect 219 68 253 102
<< pdiffc >>
rect 841 168 875 202
rect 841 68 875 102
<< poly >>
rect 44 152 110 168
rect 44 118 60 152
rect 94 150 110 152
rect 94 120 162 150
rect 310 120 558 150
rect 1158 120 1184 150
rect 94 118 110 120
rect 44 102 110 118
<< polycont >>
rect 60 118 94 152
<< locali >>
rect 219 202 253 218
rect 841 202 875 218
rect 203 168 219 202
rect 253 168 269 202
rect 825 168 841 202
rect 875 168 891 202
rect 60 152 94 168
rect 219 152 253 168
rect 841 152 875 168
rect 60 102 94 118
rect 203 68 219 102
rect 253 68 841 102
rect 875 68 1194 102
<< viali >>
rect 219 168 253 202
rect 841 168 875 202
<< metal1 >>
rect 222 208 250 316
rect 844 208 872 316
rect 207 202 265 208
rect 207 168 219 202
rect 253 168 265 202
rect 207 162 265 168
rect 829 202 887 208
rect 829 168 841 202
rect 875 168 887 202
rect 829 162 887 168
rect 222 0 250 162
rect 844 0 872 162
<< labels >>
rlabel locali s 77 135 77 135 4 A
port 2 nsew
rlabel locali s 698 85 698 85 4 Z
port 3 nsew
rlabel metal1 s 222 0 250 316 4 gnd
port 5 nsew
rlabel metal1 s 844 0 872 316 4 vdd
port 7 nsew
<< properties >>
string FIXED_BBOX 0 0 1194 6
<< end >>
